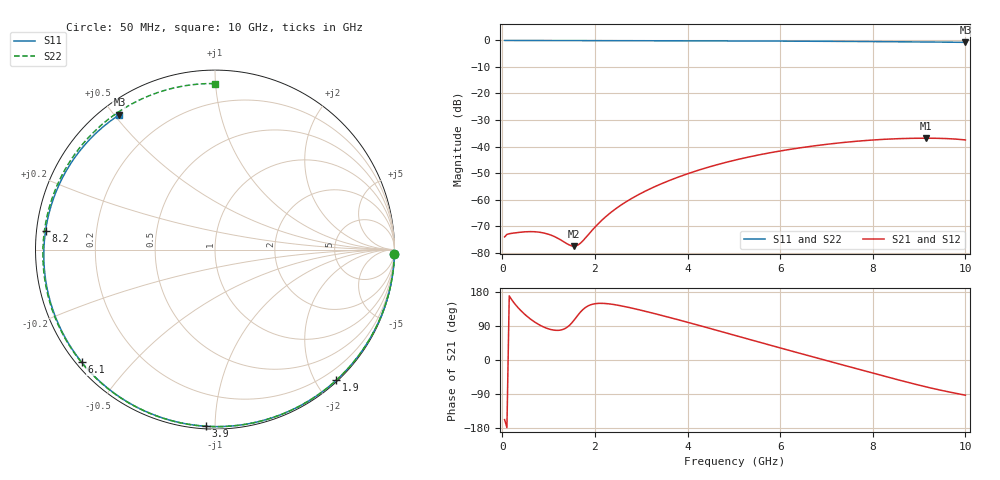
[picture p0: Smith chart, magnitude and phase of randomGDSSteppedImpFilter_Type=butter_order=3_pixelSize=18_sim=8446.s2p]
! freq	dB(S11)	phase(S11)	dB(S12)	phase(S12)
!  dB(S21)	phase(S21)	dB(S22)	phase(S22)
!S-par simulation data
#  GHz  S  DB  R 50
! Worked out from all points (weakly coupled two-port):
!   200 points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, 50 MHz to 10 GHz, reference 50 ohm
!   highest |S21| = -36.87 dB at 9.15 GHz (marker M1); lowest = -77.6 dB at 1.55 GHz (marker M2)
!   lowest |S11| = -0.7 dB at 10 GHz (marker M3), VSWR 24.26, Z = 2.61 + j25.8 ohm
!   |S11| at or under -10 dB: nowhere
!   |S22| runs from -0.7 to 0.0 dB; largest |S21 - S12| = 0
!   S11 on the Smith chart (normalised r, x): 50 MHz: 0, -90; 1.9 GHz: 0.02, -2.29; 3.9 GHz: 0.01, -0.95; 6.1 GHz: 0.02, -0.37; 8.2 GHz: 0.03, +0.05; 10 GHz: 0.05, +0.52
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0.05  -0.00 -1.3  -74.10 -157.3  -74.10 -157.3  -0.00 -1.4
0.1  -0.00 -2.5  -73.16 -178.4  -73.16 -178.4  -0.00 -2.8
0.25  -0.00 -6.4  -72.64 151.3  -72.64 151.3  -0.00 -6.9
0.8  -0.02 -20.2  -72.32 92.8  -72.32 92.8  -0.03 -21.8
1.05  -0.03 -26.4  -73.42 80.4  -73.42 80.4  -0.04 -28.5
1.55  -0.05 -38.7  -77.59 105.2  -77.59 105.2  -0.05 -41.8
1.75  -0.06 -43.5  -75.40 134.2  -75.40 134.2  -0.06 -47.1
1.9  -0.06 -47.1  -72.40 145.3  -72.40 145.3  -0.06 -51.0
2.2  -0.07 -54.3  -67.00 149.3  -67.00 149.3  -0.07 -58.7
2.5  -0.08 -61.4  -62.86 144.5  -62.86 144.5  -0.08 -66.4
2.9  -0.09 -70.6  -58.55 134.1  -58.55 134.1  -0.10 -76.4
3.4  -0.11 -81.9  -54.32 119.0  -54.32 119.0  -0.12 -88.8
3.9  -0.13 -93.0  -50.90 102.9  -50.90 102.9  -0.14 -100.9
5.05  -0.18 -117.7  -45.03 64.1  -45.03 64.1  -0.20 -128.4
6.1  -0.25 -139.9  -41.40 28.5  -41.40 28.5  -0.27 -153.6
6.7  -0.29 -152.6  -39.84 8.5  -39.84 8.5  -0.32 -168.6
7.45  -0.36 -169.0  -38.34 -16.3  -38.34 -16.3  -0.40 171.7
8.2  -0.45 173.7  -37.33 -41.0  -37.33 -41.0  -0.48 150.3
8.35  -0.46 170.1  -37.19 -45.9  -37.19 -45.9  -0.49 145.8
9.15  -0.57 149.7  -36.87 -70.9  -36.87 -70.9  -0.59 120.2
9.6  -0.64 137.2  -37.02 -83.1  -37.02 -83.1  -0.64 104.6
10  -0.72 125.3  -37.53 -92.9  -37.53 -92.9  -0.68 90.0
